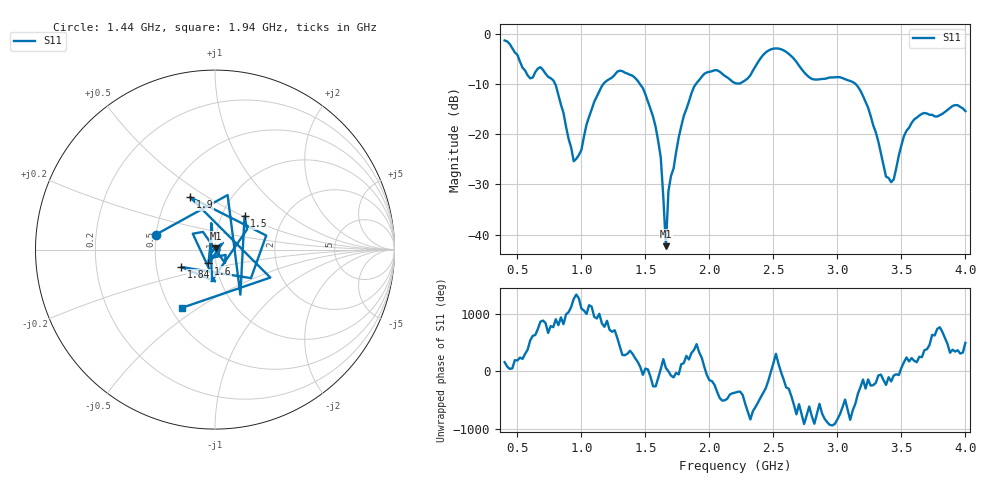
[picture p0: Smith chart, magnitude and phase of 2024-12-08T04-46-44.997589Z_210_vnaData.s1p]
!Created with skrf (http://scikit-rf.org).
# Hz S RI R 50.0
!freq ReS11 ImS11
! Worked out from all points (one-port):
!   181 points, 400 MHz to 4 GHz, reference 50 ohm
!   lowest |S11| = -42.3 dB at 1.66 GHz (marker M1), VSWR 1.02, Z = 50.4 + j0.652 ohm
!   |S11| at or under -10 dB: 794.8 MHz to 1.172 GHz (377.5 MHz wide, 38.4 % of centre); 1.457 GHz to 1.895 GHz (438.3 MHz wide, 26.2 % of centre); 3.142 GHz to end of sweep
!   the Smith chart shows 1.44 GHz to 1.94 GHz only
!   S11 on the Smith chart (normalised r, x): 1.44 GHz: 0.50, +0.09; 1.5 GHz: 1.28, +0.51; 1.6 GHz: 0.92, -0.14; 1.84 GHz: 0.67, -0.14; 1.9 GHz: 0.65, +0.42; 1.94 GHz: 0.57, -0.43
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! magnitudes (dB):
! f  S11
! 400 MHz  -1.3
! 600 MHz  -8.9
! 680 MHz  -6.7
! 780 MHz  -9.3
! 860 MHz  -15.8
! 940 MHz  -25.4
! 1.14 GHz  -11.4
! 1.3 GHz  -7.4
! 1.44 GHz  -9.4
! 1.5 GHz  -12.1
! 1.6 GHz  -21.4
! 1.62 GHz  -24.6
! 1.66 GHz  -42.3
! 1.68 GHz  -31.4
! 1.76 GHz  -20.7
! 1.84 GHz  -13.5
! 1.9 GHz  -9.8
! 1.94 GHz  -8.6
! 2.2 GHz  -9.8
! 2.48 GHz  -3.1
! 2.66 GHz  -5.0
! 2.8 GHz  -9.0
! 3.1 GHz  -9.4
! 3.24 GHz  -14.7
! 3.38 GHz  -28.5
! 3.42 GHz  -29.6
! 3.56 GHz  -18.7
! 4 GHz  -15.4
